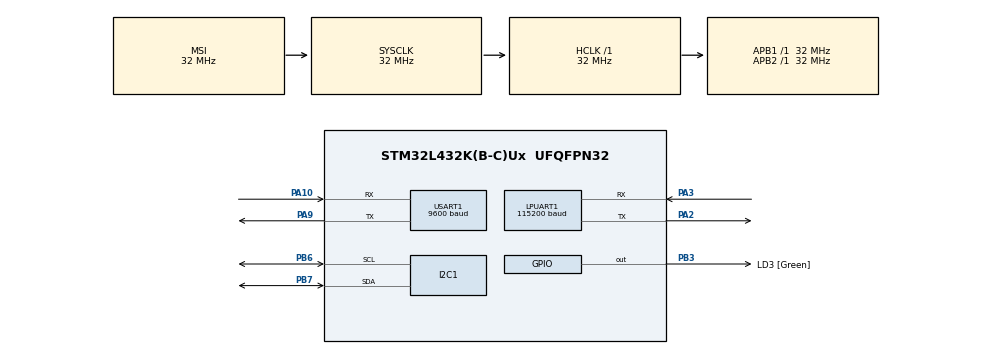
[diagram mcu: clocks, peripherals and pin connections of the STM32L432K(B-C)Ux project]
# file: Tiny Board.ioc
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I2C1.Timing=0x00B07CB4
LPUART1.BaudRate=115200
LPUART1.WordLength=UART_WORDLENGTH_8B
Mcu.Family=STM32L4
Mcu.Name=STM32L432K(B-C)Ux
Mcu.Package=UFQFPN32
NVIC.PriorityGroup=NVIC_PRIORITYGROUP_4
NVIC.USART1_IRQn=true\:0\:0\:false\:false\:true\:true\:true\:true
PA10.Mode=Asynchronous
PA10.Signal=USART1_RX
PA13\ (JTMS-SWDIO).GPIO_Label=SWDIO
PA13\ (JTMS-SWDIO).Signal=SYS_JTMS-SWDIO
PA14\ (JTCK-SWCLK).GPIO_Label=SWCLK
PA14\ (JTCK-SWCLK).Signal=SYS_JTCK-SWCLK
PA2.Mode=Asynchronous
PA2.Signal=LPUART1_TX
PA3.Mode=Asynchronous
PA3.Signal=LPUART1_RX
PA9.Mode=Asynchronous
PA9.Signal=USART1_TX
PB3\ (JTDO-TRACESWO).GPIO_Label=LD3 [Green]
PB3\ (JTDO-TRACESWO).Signal=GPIO_Output
PB6.Mode=I2C
PB6.Signal=I2C1_SCL
PB7.Mode=I2C
PB7.Signal=I2C1_SDA
PC14-OSC32_IN\ (PC14).Signal=RCC_OSC32_IN
PC15-OSC32_OUT\ (PC15).Signal=RCC_OSC32_OUT
ProjectManager.HeapSize=0x200
ProjectManager.StackSize=0x400
ProjectManager.TargetToolchain=STM32CubeIDE
RCC.ADCFreq_Value=128000000
RCC.AHBFreq_Value=32000000
RCC.APB1Freq_Value=32000000
RCC.APB1TimFreq_Value=32000000
RCC.APB2Freq_Value=32000000
RCC.APB2TimFreq_Value=32000000
RCC.CortexFreq_Value=32000000
RCC.HCLKFreq_Value=32000000
RCC.HSE_VALUE=8000000
RCC.HSI16_VALUE=16000000
RCC.HSI48_VALUE=48000000
RCC.HSI_VALUE=16000000
RCC.MSIClockRange=RCC_MSIRANGE_10
RCC.MSI_VALUE=32000000
RCC.PLLMUL=RCC_PLLMUL_4
RCC.PLLN=16
RCC.SYSCLKFreq_VALUE=32000000
RCC.USBFreq_Value=128000000
RCC.VCOOutputFreq_Value=512000000
USART1.BaudRate=9600
USART1.VirtualMode-Asynchronous=VM_ASYNC
board=NUCLEO-L432KC

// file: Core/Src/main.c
/* USER CODE BEGIN Header */
/**
  ******************************************************************************
  * @file           : main.c
  * @brief          : Main program body
  ******************************************************************************
  * @attention
  *
  * Copyright (c) 2025 STMicroelectronics.
  * All rights reserved.
  *
  * This software is licensed under terms that can be found in the LICENSE file
  * in the root directory of this software component.
  * If no LICENSE file comes with this software, it is provided AS-IS.
  *
  ******************************************************************************
  */
/* USER CODE END Header */
#include "main.h"

/* USER CODE BEGIN Includes */
#include "stdio.h"
#include "math.h"
#include "string.h"
#include "fonts.h"
#include "oled_driver.h"
/* USER CODE END Includes */

I2C_HandleTypeDef hi2c1;

UART_HandleTypeDef hlpuart1;
UART_HandleTypeDef huart1;

/* USER CODE BEGIN PV */
uint8_t uart_buffer[32];
uint8_t xbee_buffer[32];
uint8_t xbee_int_buf[2];
volatile uint8_t xbee_int_ready = 0;
uint8_t r = 0;
/* USER CODE END PV */

void SystemClock_Config(void);
static void MX_GPIO_Init(void);
static void MX_LPUART1_UART_Init(void);
static void MX_USART1_UART_Init(void);
static void MX_I2C1_Init(void);

/* USER CODE BEGIN 0 */
void MX_NVIC_Init(void)
{
    HAL_NVIC_SetPriority(USART1_IRQn, 0, 0);
    HAL_NVIC_EnableIRQ(USART1_IRQn);
}

int xbee_readline(char *buf, int maxlen)
{
    int i = 0;
    uint8_t ch;
    while (i < maxlen - 1) {
        if (HAL_UART_Receive(&huart1, &ch, 1, 500) != HAL_OK) {
            break;  // timeout
        }
        buf[i++] = ch;
        if (ch == '\r' || ch == '\n') break;
    }
    buf[i] = '\0';
    return i;
}

void xbee_send(const char* cmd) {
	HAL_UART_Transmit(&huart1, (uint8_t*)cmd, strlen(cmd), 100);
	HAL_UART_Transmit(&huart1, (uint8_t*)"\r", 1, 100);
}

uint8_t xbee_enter_command(void)
{
    uint8_t resp[8];
    HAL_StatusTypeDef st;
//    HAL_UART_AbortReceive(&huart5);
    HAL_Delay(1000);   // guard time before
    HAL_UART_Transmit(&huart1, (uint8_t*)"+++", 3, 100);
    HAL_Delay(1000);   // guard time after
    // XBee should respond with "OK\r"
    st = HAL_UART_Receive(&huart1, resp, 3, 1000);  // read 3 bytes

    printf("enter cmd resp: st=%d, bytes=%02X %02X %02X\r\n",
           st, resp[0], resp[1], resp[2]);
    // check for "OK\r"
    if (st == HAL_OK && resp[0] == 'O' && resp[1] == 'K')
        return 1;
    else
        return 0;
}

void OLED_Circle(int x0, int y0, int r, OLED_COLOR color)
{
    int x = r;
    int y = 0;
    int err = 0;

    while (x >= y)
    {
        // Draw horizontal spans instead of single pixels
        for (int i = x0 - x; i <= x0 + x; i++) {
            OLED_DrawPixel(i, y0 + y, color);
            OLED_DrawPixel(i, y0 - y, color);
        }
        for (int i = x0 - y; i <= x0 + y; i++) {
            OLED_DrawPixel(i, y0 + x, color);
            OLED_DrawPixel(i, y0 - x, color);
        }

        y++;

        if (err <= 0)
        {
            err += 2*y + 1;
        }
        if (err > 0)
        {
            x--;
            err -= 2*x + 1;
        }
    }
}

void OLED_Square(uint8_t x, uint8_t y, uint8_t size, OLED_COLOR color)
{
    // Prevent drawing outside the display
    if (x >= OLED_WIDTH || y >= OLED_HEIGHT) return;

    for (uint8_t i = 0; i < size; i++) {
        for (uint8_t j = 0; j < size; j++) {
            uint8_t px = x + j;
            uint8_t py = y + i;

            if (px < OLED_WIDTH && py < OLED_HEIGHT) {
                OLED_DrawPixel(px, py, color);
            }
        }
    }
}

void xbee_router_setup() {
	if(xbee_enter_command()) {
		xbee_send("ATID 2222");
		xbee_send("ATCH 17");
		xbee_send("ATMY 2");
		xbee_send("ATDL 1");
		xbee_send("ATWR");
		xbee_send("ATCN");
	}
	else {
		printf("xbee router setup failed! \r\n");
	}
}

//void HAL_USART_RxCpltCallback(UART_HandleTypeDef *hsuart) {
//    if (hsuart == &huart1) {
//        xbee_int_ready = 1;
//    }
//    // Restart reception IMMEDIATELY
//    if (HAL_UART_Receive_IT(&huart1, uart_buffer, 32) != HAL_OK) {
//        printf("Failed to restart UART reception!\n");
//    }
//
//}
//
//void HAL_USART_ErrorCallback(UART_HandleTypeDef *hsuart)
//{
//    if (hsuart == &huart1) {
//    	HAL_UART_Receive_IT(&huart1, uart_buffer, 32);
//    }
//}
/* USER CODE END 0 */

int main(void)
{

  /* MCU Configuration--------------------------------------------------------*/

  /* Reset of all peripherals, Initializes the Flash interface and the Systick. */
  HAL_Init();

  /* Configure the system clock */
  SystemClock_Config();

  /* USER CODE BEGIN SysInit */
  MX_NVIC_Init();
  /* USER CODE END SysInit */

  /* Initialize all configured peripherals */
  MX_GPIO_Init();
  MX_LPUART1_UART_Init();
  MX_USART1_UART_Init();
  MX_I2C1_Init();
  /* USER CODE BEGIN 2 */
//  	  HAL_Delay(1000);
//   xbee_router_setup();
//   HAL_Delay(1000);

   // Init lcd using one of the stm32HAL i2c typedefs
   if (OLED_Init(&hi2c1) != 0) {
     Error_Handler();
   }
   HAL_Delay(100);

   OLED_Fill(Black);
   OLED_UpdateScreen(&hi2c1);

   HAL_Delay(1000);

   // Write data to local screenbuffer
   OLED_SetCursor(0, 0);
   OLED_WriteString("Initialization", Font_7x10, White);
   OLED_SetCursor(0, 10);
   OLED_WriteString("Done >:)", Font_7x10, White);

 //  OLED_UpdateScreen(&hi2c1);
 //  OLED_SetCursor(0, 36);
 //  OLED_WriteString("Recheck", Font_11x18, White);

 //  // Draw rectangle on screen
 //  for (uint8_t i=0; i<28; i++) {
 //      for (uint8_t j=0; j<64; j++) {
 //          OLED_DrawPixel(100+i, 0+j, White);
 //      }
 //  }

   // Copy all data from local screenbuffer to the screen
   HAL_Delay(100);
   OLED_UpdateScreen(&hi2c1);

   HAL_UART_Receive_IT(&huart1, uart_buffer, 32);
   HAL_Delay(100);
   HAL_GPIO_WritePin(LD3_GPIO_Port, LD3_Pin, GPIO_PIN_RESET);
  /* USER CODE END 2 */

  /* Infinite loop */
  while (1)
  {

    /* USER CODE BEGIN 3 */
//	  OLED_Fill(Black);
//
//	  	 if(xbee_int_ready){
//	  		 xbee_int_ready = 0;
//	  //	         Print your data
//	  		for (int i = 0; i < 32; i++) {
//	  			uint8_t byte = uart_buffer[i];
//	  			int val1 = (byte >> 4) & 0x0F;  // Upper 4 bits
//	  			int val2 = byte & 0x0F;         // Lower 4 bits
//
//	  			printf("%d %d  ", (byte >> 4) & 0x0F, byte & 0x0F);
//	  			if (i % 4 == 3) printf("\n\r");
//
//	  			// Convert to 8x8 grid positions
//	  			int grid_index = i * 2;         // 0-63 (64 total values)
//	  			int row = grid_index / 8;       // 0-7 (8 rows)
//	  			int col = grid_index % 8;       // 0-7 (8 columns)
//
//	  			// First value
//	  			int radius1 = val1 / 4 + 1;     // Scale 0-15 to radius 1-8
//	  			if(radius1 < 3){
//	  				radius1 = 0;
//	  			}
//	  			OLED_Square(col * 8 + 8, row * 8 + 4, radius1, White);
//
//	  			// Second value (next column)
//	  			int grid_index2 = grid_index + 1;
//	  			int row2 = grid_index2 / 8;
//	  			int col2 = grid_index2 % 8;
//	  			int radius2 = val2 / 4 + 1;
//	  			if(radius2 < 3){
//	  				radius2 = 0;
//	  			}
//	  			OLED_Square(col2 * 8 + 8, row2 * 8 + 4, radius2, White);
//
//
//	  		}
//	  		OLED_UpdateScreen(&hi2c1);
//	  		printf("-----------\n\r");
//	  	 }

	  	 HAL_Delay(100);
  }
  /* USER CODE END 3 */
}

void SystemClock_Config(void)
{
  RCC_OscInitTypeDef RCC_OscInitStruct = {0};
  RCC_ClkInitTypeDef RCC_ClkInitStruct = {0};

  /** Configure the main internal regulator output voltage
  */
  if (HAL_PWREx_ControlVoltageScaling(PWR_REGULATOR_VOLTAGE_SCALE1) != HAL_OK)
  {
    Error_Handler();
  }

  /** Initializes the RCC Oscillators according to the specified parameters
  * in the RCC_OscInitTypeDef structure.
  */
  RCC_OscInitStruct.OscillatorType = RCC_OSCILLATORTYPE_MSI;
  RCC_OscInitStruct.MSIState = RCC_MSI_ON;
  RCC_OscInitStruct.MSICalibrationValue = 0;
  RCC_OscInitStruct.MSIClockRange = RCC_MSIRANGE_10;
  RCC_OscInitStruct.PLL.PLLState = RCC_PLL_NONE;
  if (HAL_RCC_OscConfig(&RCC_OscInitStruct) != HAL_OK)
  {
    Error_Handler();
  }

  /** Initializes the CPU, AHB and APB buses clocks
  */
  RCC_ClkInitStruct.ClockType = RCC_CLOCKTYPE_HCLK|RCC_CLOCKTYPE_SYSCLK
                              |RCC_CLOCKTYPE_PCLK1|RCC_CLOCKTYPE_PCLK2;
  RCC_ClkInitStruct.SYSCLKSource = RCC_SYSCLKSOURCE_MSI;
  RCC_ClkInitStruct.AHBCLKDivider = RCC_SYSCLK_DIV1;
  RCC_ClkInitStruct.APB1CLKDivider = RCC_HCLK_DIV1;
  RCC_ClkInitStruct.APB2CLKDivider = RCC_HCLK_DIV1;

  if (HAL_RCC_ClockConfig(&RCC_ClkInitStruct, FLASH_LATENCY_1) != HAL_OK)
  {
    Error_Handler();
  }
}

static void MX_I2C1_Init(void)
{

  hi2c1.Instance = I2C1;
  hi2c1.Init.Timing = 0x00B07CB4;
  hi2c1.Init.OwnAddress1 = 0;
  hi2c1.Init.AddressingMode = I2C_ADDRESSINGMODE_7BIT;
  hi2c1.Init.DualAddressMode = I2C_DUALADDRESS_DISABLE;
  hi2c1.Init.OwnAddress2 = 0;
  hi2c1.Init.OwnAddress2Masks = I2C_OA2_NOMASK;
  hi2c1.Init.GeneralCallMode = I2C_GENERALCALL_DISABLE;
  hi2c1.Init.NoStretchMode = I2C_NOSTRETCH_DISABLE;
  if (HAL_I2C_Init(&hi2c1) != HAL_OK)
  {
    Error_Handler();
  }

  /** Configure Analogue filter
  */
  if (HAL_I2CEx_ConfigAnalogFilter(&hi2c1, I2C_ANALOGFILTER_ENABLE) != HAL_OK)
  {
    Error_Handler();
  }

  /** Configure Digital filter
  */
  if (HAL_I2CEx_ConfigDigitalFilter(&hi2c1, 0) != HAL_OK)
  {
    Error_Handler();
  }

}

static void MX_LPUART1_UART_Init(void)
{

  hlpuart1.Instance = LPUART1;
  hlpuart1.Init.BaudRate = 115200;
  hlpuart1.Init.WordLength = UART_WORDLENGTH_8B;
  hlpuart1.Init.StopBits = UART_STOPBITS_1;
  hlpuart1.Init.Parity = UART_PARITY_NONE;
  hlpuart1.Init.Mode = UART_MODE_TX_RX;
  hlpuart1.Init.HwFlowCtl = UART_HWCONTROL_NONE;
  hlpuart1.Init.OneBitSampling = UART_ONE_BIT_SAMPLE_DISABLE;
  hlpuart1.AdvancedInit.AdvFeatureInit = UART_ADVFEATURE_NO_INIT;
  if (HAL_UART_Init(&hlpuart1) != HAL_OK)
  {
    Error_Handler();
  }

}

static void MX_USART1_UART_Init(void)
{

  huart1.Instance = USART1;
  huart1.Init.BaudRate = 9600;
  huart1.Init.WordLength = UART_WORDLENGTH_8B;
  huart1.Init.StopBits = UART_STOPBITS_1;
  huart1.Init.Parity = UART_PARITY_NONE;
  huart1.Init.Mode = UART_MODE_TX_RX;
  huart1.Init.HwFlowCtl = UART_HWCONTROL_NONE;
  huart1.Init.OverSampling = UART_OVERSAMPLING_16;
  huart1.Init.OneBitSampling = UART_ONE_BIT_SAMPLE_DISABLE;
  huart1.AdvancedInit.AdvFeatureInit = UART_ADVFEATURE_NO_INIT;
  if (HAL_UART_Init(&huart1) != HAL_OK)
  {
    Error_Handler();
  }

}

static void MX_GPIO_Init(void)
{
  GPIO_InitTypeDef GPIO_InitStruct = {0};

  /* GPIO Ports Clock Enable */
  __HAL_RCC_GPIOC_CLK_ENABLE();
  __HAL_RCC_GPIOA_CLK_ENABLE();
  __HAL_RCC_GPIOB_CLK_ENABLE();

  /*Configure GPIO pin Output Level */
  HAL_GPIO_WritePin(LD3_GPIO_Port, LD3_Pin, GPIO_PIN_RESET);

  /*Configure GPIO pin : LD3_Pin */
  GPIO_InitStruct.Pin = LD3_Pin;
  GPIO_InitStruct.Mode = GPIO_MODE_OUTPUT_PP;
  GPIO_InitStruct.Pull = GPIO_NOPULL;
  GPIO_InitStruct.Speed = GPIO_SPEED_FREQ_LOW;
  HAL_GPIO_Init(LD3_GPIO_Port, &GPIO_InitStruct);

}

/* USER CODE BEGIN 4 */
#ifdef __GNUC__
#define PUTCHAR_PROTOTYPE int __io_putchar(int ch)
#else
  #define PUTCHAR_PROTOTYPE int fputc(int ch, FILE *f)
#endif /* __GNUC__ */
PUTCHAR_PROTOTYPE
{
  HAL_UART_Transmit(&hlpuart1, (uint8_t *)&ch, 1, 0xFFFF);
  return ch;
}
/* USER CODE END 4 */

void Error_Handler(void)
{
  __disable_irq();
  while (1)
  {
  }
}
